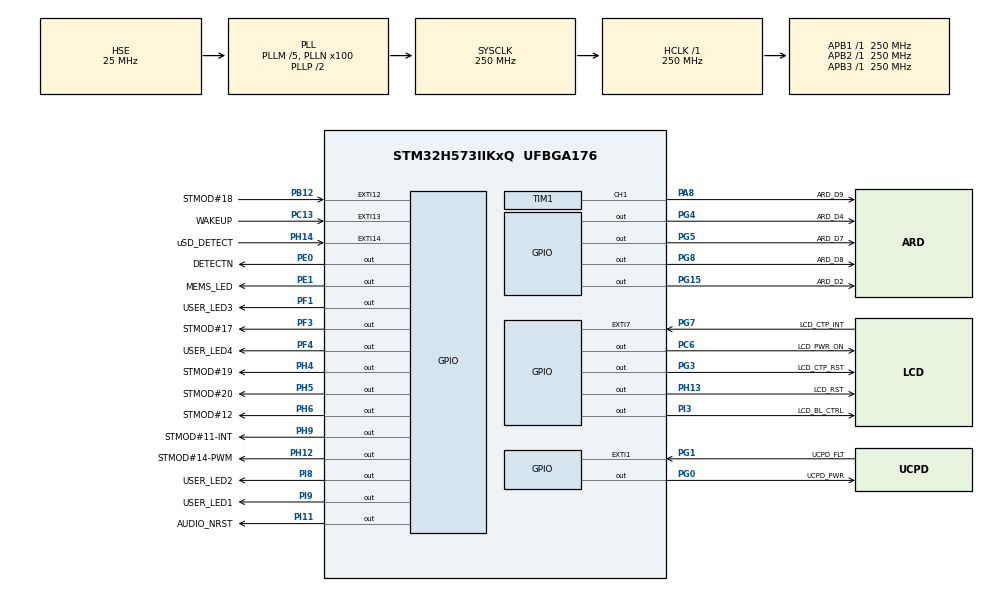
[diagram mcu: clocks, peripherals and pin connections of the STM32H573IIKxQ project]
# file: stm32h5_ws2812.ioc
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CORTEX_M33_NS.userName=CORTEX_M33
GPDMA1.CIRCULARMODE_GPDMACH0=ENABLE
GPDMA1.DESTDATAWIDTH_GPDMACH0=DMA_DEST_DATAWIDTH_WORD
GPDMA1.DIRECTION_GPDMACH0=DMA_MEMORY_TO_PERIPH
GPDMA1.IPHANDLE_GPDMACH0-SIMPLEREQUEST_GPDMACH0=__NULL
GPDMA1.REQUEST_GPDMACH0=GPDMA1_REQUEST_TIM1_CH1
GPDMA1.SRCDATAWIDTH_GPDMACH0=DMA_SRC_DATAWIDTH_WORD
GPDMA1.SRCINC_GPDMACH0=DMA_SINC_INCREMENTED
Mcu.Family=STM32H5
Mcu.Name=STM32H573IIKxQ
Mcu.Package=UFBGA176
Mcu.UserConstants=LED_TIM_ARR,311
NVIC.GPDMA1_Channel0_IRQn=true\:0\:0\:false\:false\:true\:false\:true\:true
NVIC.PriorityGroup=NVIC_PRIORITYGROUP_4
PA0.GPIO_Label=ARD_A2
PA0.Signal=ADCx_INP0
PA1.GPIO_Label=RMII_REF_CLK
PA1.Signal=ETH_REF_CLK
PA10.GPIO_Label=STLK_VCP_TX
PA10.Signal=USART1_RX
PA11.GPIO_Label=USB_FS_N
PA11.Signal=USB_DM
PA12.GPIO_Label=USB_FS_P
PA12.Signal=USB_DP
PA13(JTMS/SWDIO).GPIO_Label=JTMS
PA13(JTMS/SWDIO).Signal=DEBUG_JTMS-SWDIO
PA14(JTCK/SWCLK).GPIO_Label=JTCK
PA14(JTCK/SWCLK).Signal=DEBUG_JTCK-SWCLK
PA15(JTDI).GPIO_Label=JTDI
PA15(JTDI).Signal=DEBUG_JTDI
PA2.GPIO_Label=RMII_MDIO
PA2.Signal=ETH_MDIO
PA3.GPIO_Label=ARD_D10
PA3.Signal=SPI2_NSS
PA4.GPIO_Label=ARD_A1
PA4.Signal=ADCx_INP18
PA5.GPIO_Label=ARD_A3
PA5.Signal=ADCx_INP19
PA6.GPIO_Label=ARD_A4
PA6.Signal=ADCx_INP3
PA7.GPIO_Label=RMII_CRS_DV
PA7.Signal=ETH_CRS_DV
PA8.GPIO_Label=ARD_D9
PA8.Signal=S_TIM1_CH1
PA9.GPIO_Label=STLK_VCP_RX
PA9.Signal=USART1_TX
PB0.GPIO_Label=ARD_A0
PB0.Signal=ADCx_INP9
PB1.GPIO_Mode=GPIO_MODE_AF_PP
PB1.GPIO_PuPd=GPIO_NOPULL
PB1.GPIO_Speed_High_Default=GPIO_SPEED_FREQ_VERY_HIGH
PB1.Signal=OCTOSPI1_IO0
PB10.GPIO_Label=ARD_D1
PB10.Signal=USART3_TX
PB11.GPIO_Label=ARD_D0
PB11.Signal=USART3_RX
PB12.GPIO_Label=STMOD\#18
PB12.Signal=GPXTI12
PB13.GPIO_Label=UCPD_CC1
PB13.Signal=UCPD1_CC1
PB14.GPIO_Label=UCPD_CC2
PB14.Signal=UCPD1_CC2
PB15.GPIO_Label=ARD_D11
PB15.Signal=SPI2_MOSI
PB2.Signal=OCTOSPI1_DQS
PB3(JTDO/TRACESWO).GPIO_Label=SWO
PB3(JTDO/TRACESWO).Signal=DEBUG_JTDO-SWO
PB4(NJTRST).GPIO_Label=NJTRST
PB4(NJTRST).Signal=DEBUG_JTRST
PB5.GPIO_Label=ARD_D3
PB5.Signal=S_TIM3_CH2
PB6.GPIO_Label=I2C1_SCL
PB6.Signal=I2C1_SCL
PB7.GPIO_Label=I2C1_SDA
PB7.Signal=I2C1_SDA
PC0.Signal=OCTOSPI1_IO7
PC1.GPIO_Label=RMII_MDC
PC1.Signal=ETH_MDC
PC10.GPIO_Label=SDIO1_D2
PC10.Signal=SDMMC1_D2
PC11.GPIO_Label=SDIO1_D3
PC11.Signal=SDMMC1_D3
PC12.GPIO_Label=SDIO1_CK
PC12.Signal=SDMMC1_CK
PC13.GPIO_Label=WAKEUP
PC13.Signal=GPXTI13
PC14-OSC32_IN(OSC32_IN).Signal=RCC_OSC32_IN
PC15-OSC32_OUT(OSC32_OUT).Signal=RCC_OSC32_OUT
PC2.GPIO_Mode=GPIO_MODE_AF_PP
PC2.GPIO_PuPd=GPIO_NOPULL
PC2.GPIO_Speed_High_Default=GPIO_SPEED_FREQ_VERY_HIGH
PC2.Signal=OCTOSPI1_IO2
PC3.GPIO_Label=PDM_SAI1_SD3
PC3.Signal=SAI1_D3
PC4.GPIO_Label=RMII_RXD0
PC4.Signal=ETH_RXD0
PC5.GPIO_Label=RMII_RXD1
PC5.Signal=ETH_RXD1
PC6.GPIO_Label=LCD_PWR_ON
PC6.Signal=GPIO_Output
PC7.Signal=FMC_NE1
PC8.GPIO_Label=SDIO1_D0
PC8.Signal=SDMMC1_D0
PC9.GPIO_Label=SDIO1_D1
PC9.Signal=SDMMC1_D1
PD0.GPIO_Label=LCD_D2
PD0.Signal=FMC_D2_DA2
PD1.GPIO_Label=LCD_D3
PD1.Signal=FMC_D3_DA3
PD10.GPIO_Label=LCD_D15
PD10.Signal=FMC_D15_DA15
PD11.Signal=SAI1_CK1
PD12.GPIO_Mode=GPIO_MODE_AF_PP
PD12.GPIO_PuPd=GPIO_NOPULL
PD12.GPIO_Speed_High_Default=GPIO_SPEED_FREQ_VERY_HIGH
PD12.Signal=OCTOSPI1_IO1
PD13.GPIO_Mode=GPIO_MODE_AF_PP
PD13.GPIO_PuPd=GPIO_NOPULL
PD13.GPIO_Speed_High_Default=GPIO_SPEED_FREQ_VERY_HIGH
PD13.Signal=OCTOSPI1_IO3
PD14.GPIO_Label=LCD_D0
PD14.Signal=FMC_D0_DA0
PD15.GPIO_Label=LCD_D1
PD15.Signal=FMC_D1_DA1
PD2.GPIO_Label=SDIO1_CMD
PD2.Signal=SDMMC1_CMD
PD3.GPIO_Label=LCD_TE
PD3.Signal=FMC_CLK
PD4.GPIO_Label=LCD_NOE
PD4.Signal=FMC_NOE
PD5.GPIO_Label=LCD_NWE
PD5.Signal=FMC_NWE
PD6.Signal=SAI1_SD_A
PD8.GPIO_Label=LCD_D13
PD8.Signal=FMC_D13_DA13
PD9.GPIO_Label=LCD_D14
PD9.Signal=FMC_D14_DA14
PE0.GPIO_Label=DETECTN
PE0.Signal=GPIO_Output
PE1.GPIO_Label=MEMS_LED
PE1.Signal=GPIO_Output
PE10.GPIO_Label=LCD_D7
PE10.Signal=FMC_D7_DA7
PE11.GPIO_Label=LCD_D8
PE11.Signal=FMC_D8_DA8
PE12.GPIO_Label=LCD_D9
PE12.Signal=FMC_D9_DA9
PE13.GPIO_Label=LCD_D10
PE13.Signal=FMC_D10_DA10
PE14.GPIO_Label=LCD_D11
PE14.Signal=FMC_D11_DA11
PE15.GPIO_Label=LCD_D12
PE15.Signal=FMC_D12_DA12
PE2.Signal=DEBUG_TRACECLK
PE3.GPIO_Label=TRACED0
PE3.Signal=DEBUG_TRACED0
PE4.Signal=SAI1_D2
PE5.GPIO_Label=TRACED2
PE5.Signal=DEBUG_TRACED2
PE6.GPIO_Label=TRACED3
PE6.Signal=DEBUG_TRACED3
PE7.Signal=FMC_D4_DA4
PE8.GPIO_Label=LCD_D5
PE8.Signal=FMC_D5_DA5
PE9.GPIO_Label=LCD_D6
PE9.Signal=FMC_D6_DA6
PF0.GPIO_Label=LCD_A0_RS
PF0.Signal=FMC_A0
PF1.GPIO_Label=USER_LED3
PF1.Signal=GPIO_Output
PF10.GPIO_Mode=GPIO_MODE_AF_PP
PF10.GPIO_PuPd=GPIO_NOPULL
PF10.GPIO_Speed_High_Default=GPIO_SPEED_FREQ_VERY_HIGH
PF10.Signal=OCTOSPI1_CLK
PF11.GPIO_Label=STMOD\#13
PF11.Signal=ADC1_INP2
PF12.GPIO_Label=ARD_A5
PF12.Signal=ADC1_INP6
PF13.GPIO_Label=IBUS_SENSE
PF13.Signal=ADC2_INP2
PF14.GPIO_Label=VBUS_SENSE
PF14.Signal=ADC2_INP6
PF3.GPIO_Label=STMOD\#17
PF3.Signal=GPIO_Output
PF4.GPIO_Label=USER_LED4
PF4.Signal=GPIO_Output
PG0.GPIO_Label=UCPD_PWR
PG0.Signal=GPIO_Output
PG1.GPIO_Label=UCPD_FLT
PG1.Signal=GPXTI1
PG10.GPIO_Label=SAI2_SD_B
PG10.Signal=SAI2_SD_B
PG11.GPIO_Label=RMII_TX_EN
PG11.Signal=ETH_TX_EN
PG12.GPIO_Label=RMII_TXD1
PG12.Signal=ETH_TXD1
PG13.GPIO_Label=RMII_TXD0
PG13.Signal=ETH_TXD0
PG14.GPIO_Label=TRACED1
PG14.Signal=DEBUG_TRACED1
PG15.GPIO_Label=ARD_D2
PG15.Signal=GPIO_Output
PG3.GPIO_Label=LCD_CTP_RST
PG3.Signal=GPIO_Output
PG4.GPIO_Label=ARD_D4
PG4.Signal=GPIO_Output
PG5.GPIO_Label=ARD_D7
PG5.Signal=GPIO_Output
PG6.GPIO_Mode=GPIO_MODE_AF_PP
PG6.GPIO_PuPd=GPIO_NOPULL
PG6.GPIO_Speed_High_Default=GPIO_SPEED_FREQ_VERY_HIGH
PG6.Signal=OCTOSPI1_NCS
PG7.GPIO_Label=LCD_CTP_INT
PG7.Signal=GPXTI7
PG8.GPIO_Label=ARD_D8
PG8.Signal=GPIO_Output
PG9.GPIO_Mode=GPIO_MODE_AF_PP
PG9.GPIO_PuPd=GPIO_NOPULL
PG9.GPIO_Speed_High_Default=GPIO_SPEED_FREQ_VERY_HIGH
PG9.Signal=OCTOSPI1_IO6
PH0-OSC_IN(PH0).Mode=HSE-DIG-External-Clock-Source
PH0-OSC_IN(PH0).Signal=RCC_OSC_IN
PH10.GPIO_Label=ARD_D6
PH10.Signal=S_TIM5_CH1
PH11.GPIO_Label=ARD_D5
PH11.Signal=S_TIM5_CH2
PH12.GPIO_Label=STMOD\#14-PWM
PH12.Signal=GPIO_Output
PH13.GPIO_Label=LCD_RST
PH13.Signal=GPIO_Output
PH14.GPIO_Label=uSD_DETECT
PH14.Signal=GPXTI14
PH2.GPIO_Mode=GPIO_MODE_AF_PP
PH2.GPIO_PuPd=GPIO_NOPULL
PH2.GPIO_Speed_High_Default=GPIO_SPEED_FREQ_VERY_HIGH
PH2.Signal=OCTOSPI1_IO4
PH3.GPIO_Mode=GPIO_MODE_AF_PP
PH3.GPIO_PuPd=GPIO_NOPULL
PH3.GPIO_Speed_High_Default=GPIO_SPEED_FREQ_VERY_HIGH
PH3.Signal=OCTOSPI1_IO5
PH4.GPIO_Label=STMOD\#19
PH4.Signal=GPIO_Output
PH5.GPIO_Label=STMOD\#20
PH5.Signal=GPIO_Output
PH6.GPIO_Label=STMOD\#12
PH6.Signal=GPIO_Output
PH7.GPIO_Label=STMOD\#12-RST
PH7.Signal=SPI5_MISO
PH8.GPIO_Label=STMOD\#9-MISOs
PH8.Signal=SPI5_MOSI
PH9.GPIO_Label=STMOD\#11-INT
PH9.Signal=GPIO_Output
PI1.GPIO_Label=ARD_D13
PI1.Signal=SPI2_SCK
PI10.GPIO_Label=RMII_RX_ER
PI10.Signal=ETH_RX_ER
PI11.GPIO_Label=AUDIO_NRST
PI11.Signal=GPIO_Output
PI2.GPIO_Label=ARD_D12
PI2.Signal=SPI2_MISO
PI3.GPIO_Label=LCD_BL_CTRL
PI3.Signal=GPIO_Output
PI4.GPIO_Label=SAI2_MCLK_A
PI4.Signal=SAI2_MCLK_A
PI5.GPIO_Label=SAI2_SCK_A
PI5.Signal=SAI2_SCK_A
PI6.GPIO_Label=SAI2_SD_A
PI6.Signal=SAI2_SD_A
PI7.GPIO_Label=SAI2_FS_A
PI7.Signal=SAI2_FS_A
PI8.GPIO_Label=USER_LED2
PI8.Signal=GPIO_Output
PI9.GPIO_Label=USER_LED1
PI9.Signal=GPIO_Output
ProjectManager.HeapSize=0x200
ProjectManager.StackSize=0x400
ProjectManager.TargetToolchain=STM32CubeIDE
RCC.ADCFreq_Value=250000000
RCC.AHBFreq_Value=250000000
RCC.APB1Freq_Value=250000000
RCC.APB1TimFreq_Value=250000000
RCC.APB2Freq_Value=250000000
RCC.APB2TimFreq_Value=250000000
RCC.APB3Freq_Value=250000000
RCC.CSI_VALUE=4000000
RCC.CortexFreq_Value=250000000
RCC.EPOD_VALUE=25000000
RCC.HCLKFreq_Value=250000000
RCC.HSE_VALUE=25000000
RCC.HSI48_VALUE=48000000
RCC.HSIDiv=RCC_HSI_DIV1
RCC.HSI_VALUE=64000000
RCC.LSE_VALUE=32768
RCC.LSIRC_VALUE=32000
RCC.PLL2FRACN=0
RCC.PLL2N=32
RCC.PLL2P=1
RCC.PLLM=5
RCC.PLLN=100
RCC.PLLSourceVirtual=RCC_PLL1_SOURCE_HSE
RCC.SYSCLKFreq_VALUE=250000000
RCC.SYSCLKSource=RCC_SYSCLKSOURCE_PLLCLK
RCC.USBFreq_Value=48000000
RCC.VCOOutputFreq_Value=500000000
SH.ADCx_INP0.0=ADC1_INP0
SH.ADCx_INP18.0=ADC1_INP18
SH.ADCx_INP19.0=ADC1_INP19
SH.ADCx_INP3.0=ADC1_INP3
SH.ADCx_INP9.0=ADC1_INP9
SH.FMC_A0.0=FMC_A0
SH.FMC_CLK.0=FMC_CLK
SH.FMC_D0_DA0.0=FMC_D0
SH.FMC_D10_DA10.0=FMC_D10
SH.FMC_D11_DA11.0=FMC_D11
SH.FMC_D12_DA12.0=FMC_D12
SH.FMC_D13_DA13.0=FMC_D13
SH.FMC_D14_DA14.0=FMC_D14
SH.FMC_D15_DA15.0=FMC_D15
SH.FMC_D1_DA1.0=FMC_D1
SH.FMC_D2_DA2.0=FMC_D2
SH.FMC_D3_DA3.0=FMC_D3
SH.FMC_D4_DA4.0=FMC_D4
SH.FMC_D5_DA5.0=FMC_D5
SH.FMC_D6_DA6.0=FMC_D6
SH.FMC_D7_DA7.0=FMC_D7
SH.FMC_D8_DA8.0=FMC_D8
SH.FMC_D9_DA9.0=FMC_D9
SH.FMC_NOE.0=FMC_NOE
SH.FMC_NWE.0=FMC_NWE
SH.S_TIM1_CH1.0=TIM1_CH1,PWM Generation1 CH1
SH.S_TIM3_CH2.0=TIM3_CH2
SH.S_TIM5_CH1.0=TIM5_CH1
SH.S_TIM5_CH2.0=TIM5_CH2
TIM1.Channel-PWM\ Generation1\ CH1=TIM_CHANNEL_1
TIM1.PeriodNoDither=LED_TIM_ARR
VP_BOOTPATH_VS_BOOTPATH.Mode=BP_Activate
VP_GPDMA1_VS_GPDMACH0.Mode=SIMPLEREQUEST_GPDMACH0
VP_MEMORYMAP_VS_MEMORYMAP.Mode=CurAppReg
VP_PWR_VS_DBSignals.Mode=DisableDeadBatterySignals
VP_PWR_VS_LPOM.Mode=PowerOptimisation
VP_PWR_VS_SECSignals.Mode=Security/Privilege
VP_TIM1_VS_ClockSourceINT.Mode=Internal
board=STM32H573I-DK

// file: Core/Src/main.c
/* USER CODE BEGIN Header */
/**
  ******************************************************************************
  * @file           : main.c
  * @brief          : Main program body
  ******************************************************************************
  * @attention
  *
  * Copyright (c) 2024 STMicroelectronics.
  * All rights reserved.
  *
  * This software is licensed under terms that can be found in the LICENSE file
  * in the root directory of this software component.
  * If no LICENSE file comes with this software, it is provided AS-IS.
  *
  ******************************************************************************
  */
/* USER CODE END Header */
#include "main.h"

/* USER CODE BEGIN Includes */
#include <stdint.h>
#include <stdbool.h>
#include <memory.h>

/* USER CODE END Includes */

/* USER CODE BEGIN PTD */
typedef enum {
	LedTransfer,
	Reset
} State;

typedef enum Event {
	DMA_HalfComplete,
	DMA_TransferComplete
} DmaEvent;

/* USER CODE END PTD */

/* USER CODE BEGIN PD */
#define LED_PULSE_HI ((LED_TIM_ARR / 3) * 2)
#define LED_PULSE_LO ((LED_TIM_ARR / 3) * 1)

#define NUM_LEDS 5
#define NUM_LEDS_PER_TRANSFER 2

#define BYTES_PER_LED 3
#define BITS_PER_LED (BYTES_PER_LED * 8)

#define NUM_TRANSFER_ELEMENTS (BITS_PER_LED * NUM_LEDS_PER_TRANSFER)
#define NUM_PULSES_FOR_RESET 40

#define LED_BUFFER_SIZE (BYTES_PER_LED * NUM_LEDS)
#define PWM_BUFFER_SIZE (NUM_TRANSFER_ELEMENTS)

#define NUM_TRANSFER_BYTES (PWM_BUFFER_SIZE * sizeof(uint32_t))

/* USER CODE END PD */

TIM_HandleTypeDef htim1;
DMA_NodeTypeDef Node_GPDMA1_Channel0;
DMA_QListTypeDef List_GPDMA1_Channel0;
DMA_HandleTypeDef handle_GPDMA1_Channel0;

/* USER CODE BEGIN PV */
static uint8_t led_buffer[LED_BUFFER_SIZE] = {0};
static uint32_t pwm_buffer[PWM_BUFFER_SIZE] = {0};

static volatile State state = LedTransfer;

static volatile size_t current_led = 0;
static volatile size_t reset_pulse_count = 0;
static volatile bool transfer_in_progress = false;

/* USER CODE END PV */

void SystemClock_Config(void);
static void MX_GPIO_Init(void);
static void MX_GPDMA1_Init(void);
static void MX_MEMORYMAP_Init(void);
static void MX_TIM1_Init(void);

/* USER CODE BEGIN 0 */
void setColor(const size_t idx, uint8_t r, uint8_t g, uint8_t b)
{
	led_buffer[(BYTES_PER_LED * idx) + 0] = r;
	led_buffer[(BYTES_PER_LED * idx) + 1] = g;
	led_buffer[(BYTES_PER_LED * idx) + 2] = b;
}

uint32_t getColor(const size_t idx)
{
	const uint32_t r = (uint32_t)led_buffer[(BYTES_PER_LED * idx) + 0];
	const uint32_t g = (uint32_t)led_buffer[(BYTES_PER_LED * idx) + 1];
	const uint32_t b = (uint32_t)led_buffer[(BYTES_PER_LED * idx) + 2];

	return (g << 16) | (r << 8) | b;
}

void updatePwmDataForLedAtOffset(const size_t led, const size_t offset)
{
	const uint32_t color = getColor(led);

	int idx = 0;
	for (int bit = 23; bit >= 0; --bit)
	{
		if (color & (1 << bit))
		{
			pwm_buffer[offset + idx] = LED_PULSE_HI;
		}
		else
		{
			pwm_buffer[offset + idx] = LED_PULSE_LO;
		}

		idx++;
	}
}

void updatePwmDataForReset(const size_t offset)
{
	for (int i = 0; i < BITS_PER_LED; ++i)
	{
		pwm_buffer[offset + i] = 0;
	}
}

void handleTransferEvent(const DmaEvent dma_event)
{
	const size_t offset = (dma_event == DMA_HalfComplete) ? 0 : BITS_PER_LED;

	if (current_led < NUM_LEDS)
	{
		updatePwmDataForLedAtOffset(current_led++, offset);
	}
	else
	{
		// Reset period
		updatePwmDataForReset(offset);
		current_led++;
	}

	if (current_led >= (NUM_LEDS + NUM_PULSES_FOR_RESET))
	{
		current_led = 0;
	}
}

void HAL_TIM_PWM_PulseFinishedCallback(TIM_HandleTypeDef *htim)
{
	handleTransferEvent(DMA_TransferComplete);
}

void HAL_TIM_PWM_PulseFinishedHalfCpltCallback(TIM_HandleTypeDef *htim)
{
	handleTransferEvent(DMA_HalfComplete);
}

/* USER CODE END 0 */

int main(void)
{

  /* MCU Configuration--------------------------------------------------------*/

  /* Reset of all peripherals, Initializes the Flash interface and the Systick. */
  HAL_Init();

  /* Configure the system clock */
  SystemClock_Config();

  /* Initialize all configured peripherals */
  MX_GPIO_Init();
  MX_GPDMA1_Init();
  MX_MEMORYMAP_Init();
  MX_TIM1_Init();
  /* USER CODE BEGIN 2 */
  setColor(0, 0xFF, 0x00, 0x00);
  setColor(1, 0x00, 0xFF, 0x00);
  setColor(2, 0x00, 0x00, 0xFF);
  setColor(3, 0xFF, 0xFF, 0x00);
  setColor(4, 0xFF, 0x00, 0xFF);

  HAL_TIM_PWM_Start_DMA(&htim1, TIM_CHANNEL_1, pwm_buffer, NUM_TRANSFER_BYTES);

  /* USER CODE END 2 */

  /* Infinite loop */
  while (1)
  {
	  HAL_Delay(500);

  }
}

void SystemClock_Config(void)
{
  RCC_OscInitTypeDef RCC_OscInitStruct = {0};
  RCC_ClkInitTypeDef RCC_ClkInitStruct = {0};

  /** Configure the main internal regulator output voltage
  */
  __HAL_PWR_VOLTAGESCALING_CONFIG(PWR_REGULATOR_VOLTAGE_SCALE0);

  while(!__HAL_PWR_GET_FLAG(PWR_FLAG_VOSRDY)) {}

  /** Initializes the RCC Oscillators according to the specified parameters
  * in the RCC_OscInitTypeDef structure.
  */
  RCC_OscInitStruct.OscillatorType = RCC_OSCILLATORTYPE_HSE;
  RCC_OscInitStruct.HSEState = RCC_HSE_BYPASS_DIGITAL;
  RCC_OscInitStruct.PLL.PLLState = RCC_PLL_ON;
  RCC_OscInitStruct.PLL.PLLSource = RCC_PLL1_SOURCE_HSE;
  RCC_OscInitStruct.PLL.PLLM = 5;
  RCC_OscInitStruct.PLL.PLLN = 100;
  RCC_OscInitStruct.PLL.PLLP = 2;
  RCC_OscInitStruct.PLL.PLLQ = 2;
  RCC_OscInitStruct.PLL.PLLR = 2;
  RCC_OscInitStruct.PLL.PLLRGE = RCC_PLL1_VCIRANGE_2;
  RCC_OscInitStruct.PLL.PLLVCOSEL = RCC_PLL1_VCORANGE_WIDE;
  RCC_OscInitStruct.PLL.PLLFRACN = 0;
  if (HAL_RCC_OscConfig(&RCC_OscInitStruct) != HAL_OK)
  {
    Error_Handler();
  }

  /** Initializes the CPU, AHB and APB buses clocks
  */
  RCC_ClkInitStruct.ClockType = RCC_CLOCKTYPE_HCLK|RCC_CLOCKTYPE_SYSCLK
                              |RCC_CLOCKTYPE_PCLK1|RCC_CLOCKTYPE_PCLK2
                              |RCC_CLOCKTYPE_PCLK3;
  RCC_ClkInitStruct.SYSCLKSource = RCC_SYSCLKSOURCE_PLLCLK;
  RCC_ClkInitStruct.AHBCLKDivider = RCC_SYSCLK_DIV1;
  RCC_ClkInitStruct.APB1CLKDivider = RCC_HCLK_DIV1;
  RCC_ClkInitStruct.APB2CLKDivider = RCC_HCLK_DIV1;
  RCC_ClkInitStruct.APB3CLKDivider = RCC_HCLK_DIV1;

  if (HAL_RCC_ClockConfig(&RCC_ClkInitStruct, FLASH_LATENCY_5) != HAL_OK)
  {
    Error_Handler();
  }
}

static void MX_GPDMA1_Init(void)
{

  /* Peripheral clock enable */
  __HAL_RCC_GPDMA1_CLK_ENABLE();

  /* GPDMA1 interrupt Init */
    HAL_NVIC_SetPriority(GPDMA1_Channel0_IRQn, 0, 0);
    HAL_NVIC_EnableIRQ(GPDMA1_Channel0_IRQn);

}

static void MX_MEMORYMAP_Init(void)
{

}

static void MX_TIM1_Init(void)
{

  TIM_ClockConfigTypeDef sClockSourceConfig = {0};
  TIM_MasterConfigTypeDef sMasterConfig = {0};
  TIM_OC_InitTypeDef sConfigOC = {0};
  TIM_BreakDeadTimeConfigTypeDef sBreakDeadTimeConfig = {0};

  htim1.Instance = TIM1;
  htim1.Init.Prescaler = 0;
  htim1.Init.CounterMode = TIM_COUNTERMODE_UP;
  htim1.Init.Period = 311;
  htim1.Init.ClockDivision = TIM_CLOCKDIVISION_DIV1;
  htim1.Init.RepetitionCounter = 0;
  htim1.Init.AutoReloadPreload = TIM_AUTORELOAD_PRELOAD_DISABLE;
  if (HAL_TIM_Base_Init(&htim1) != HAL_OK)
  {
    Error_Handler();
  }
  sClockSourceConfig.ClockSource = TIM_CLOCKSOURCE_INTERNAL;
  if (HAL_TIM_ConfigClockSource(&htim1, &sClockSourceConfig) != HAL_OK)
  {
    Error_Handler();
  }
  if (HAL_TIM_PWM_Init(&htim1) != HAL_OK)
  {
    Error_Handler();
  }
  sMasterConfig.MasterOutputTrigger = TIM_TRGO_RESET;
  sMasterConfig.MasterOutputTrigger2 = TIM_TRGO2_RESET;
  sMasterConfig.MasterSlaveMode = TIM_MASTERSLAVEMODE_DISABLE;
  if (HAL_TIMEx_MasterConfigSynchronization(&htim1, &sMasterConfig) != HAL_OK)
  {
    Error_Handler();
  }
  sConfigOC.OCMode = TIM_OCMODE_PWM1;
  sConfigOC.Pulse = 0;
  sConfigOC.OCPolarity = TIM_OCPOLARITY_HIGH;
  sConfigOC.OCNPolarity = TIM_OCNPOLARITY_HIGH;
  sConfigOC.OCFastMode = TIM_OCFAST_DISABLE;
  sConfigOC.OCIdleState = TIM_OCIDLESTATE_RESET;
  sConfigOC.OCNIdleState = TIM_OCNIDLESTATE_RESET;
  if (HAL_TIM_PWM_ConfigChannel(&htim1, &sConfigOC, TIM_CHANNEL_1) != HAL_OK)
  {
    Error_Handler();
  }
  sBreakDeadTimeConfig.OffStateRunMode = TIM_OSSR_DISABLE;
  sBreakDeadTimeConfig.OffStateIDLEMode = TIM_OSSI_DISABLE;
  sBreakDeadTimeConfig.LockLevel = TIM_LOCKLEVEL_OFF;
  sBreakDeadTimeConfig.DeadTime = 0;
  sBreakDeadTimeConfig.BreakState = TIM_BREAK_DISABLE;
  sBreakDeadTimeConfig.BreakPolarity = TIM_BREAKPOLARITY_HIGH;
  sBreakDeadTimeConfig.BreakFilter = 0;
  sBreakDeadTimeConfig.BreakAFMode = TIM_BREAK_AFMODE_INPUT;
  sBreakDeadTimeConfig.Break2State = TIM_BREAK2_DISABLE;
  sBreakDeadTimeConfig.Break2Polarity = TIM_BREAK2POLARITY_HIGH;
  sBreakDeadTimeConfig.Break2Filter = 0;
  sBreakDeadTimeConfig.Break2AFMode = TIM_BREAK_AFMODE_INPUT;
  sBreakDeadTimeConfig.AutomaticOutput = TIM_AUTOMATICOUTPUT_DISABLE;
  if (HAL_TIMEx_ConfigBreakDeadTime(&htim1, &sBreakDeadTimeConfig) != HAL_OK)
  {
    Error_Handler();
  }
  HAL_TIM_MspPostInit(&htim1);

}

static void MX_GPIO_Init(void)
{
  GPIO_InitTypeDef GPIO_InitStruct = {0};

  /* GPIO Ports Clock Enable */
  __HAL_RCC_GPIOI_CLK_ENABLE();
  __HAL_RCC_GPIOB_CLK_ENABLE();
  __HAL_RCC_GPIOG_CLK_ENABLE();
  __HAL_RCC_GPIOD_CLK_ENABLE();
  __HAL_RCC_GPIOE_CLK_ENABLE();
  __HAL_RCC_GPIOA_CLK_ENABLE();
  __HAL_RCC_GPIOH_CLK_ENABLE();
  __HAL_RCC_GPIOC_CLK_ENABLE();
  __HAL_RCC_GPIOF_CLK_ENABLE();

  /*Configure GPIO pin Output Level */
  HAL_GPIO_WritePin(GPIOG, ARD_D2_Pin|ARD_D8_Pin|LCD_CTP_RST_Pin|ARD_D7_Pin
                          |ARD_D4_Pin|UCPD_PWR_Pin, GPIO_PIN_RESET);

  /*Configure GPIO pin Output Level */
  HAL_GPIO_WritePin(GPIOI, LCD_BL_CTRL_Pin|USER_LED1_Pin|USER_LED2_Pin|AUDIO_NRST_Pin, GPIO_PIN_RESET);

  /*Configure GPIO pin Output Level */
  HAL_GPIO_WritePin(GPIOE, MEMS_LED_Pin|DETECTN_Pin, GPIO_PIN_RESET);

  /*Configure GPIO pin Output Level */
  HAL_GPIO_WritePin(GPIOH, LCD_RST_Pin|STMOD_11_INT_Pin|STMOD_14_PWM_Pin|STMOD_20_Pin
                          |STMOD_12_Pin|STMOD_19_Pin, GPIO_PIN_RESET);

  /*Configure GPIO pin Output Level */
  HAL_GPIO_WritePin(GPIOF, USER_LED3_Pin|USER_LED4_Pin|STMOD_17_Pin, GPIO_PIN_RESET);

  /*Configure GPIO pin Output Level */
  HAL_GPIO_WritePin(LCD_PWR_ON_GPIO_Port, LCD_PWR_ON_Pin, GPIO_PIN_RESET);

  /*Configure GPIO pins : SAI2_FS_A_Pin SAI2_SCK_A_Pin SAI2_MCLK_A_Pin SAI2_SD_A_Pin */
  GPIO_InitStruct.Pin = SAI2_FS_A_Pin|SAI2_SCK_A_Pin|SAI2_MCLK_A_Pin|SAI2_SD_A_Pin;
  GPIO_InitStruct.Mode = GPIO_MODE_AF_PP;
  GPIO_InitStruct.Pull = GPIO_NOPULL;
  GPIO_InitStruct.Speed = GPIO_SPEED_FREQ_LOW;
  GPIO_InitStruct.Alternate = GPIO_AF10_SAI2;
  HAL_GPIO_Init(GPIOI, &GPIO_InitStruct);

  /*Configure GPIO pin : ARD_D3_Pin */
  GPIO_InitStruct.Pin = ARD_D3_Pin;
  GPIO_InitStruct.Mode = GPIO_MODE_AF_PP;
  GPIO_InitStruct.Pull = GPIO_NOPULL;
  GPIO_InitStruct.Speed = GPIO_SPEED_FREQ_LOW;
  GPIO_InitStruct.Alternate = GPIO_AF2_TIM3;
  HAL_GPIO_Init(ARD_D3_GPIO_Port, &GPIO_InitStruct);

  /*Configure GPIO pins : ARD_D2_Pin ARD_D8_Pin LCD_CTP_RST_Pin ARD_D7_Pin
                           ARD_D4_Pin UCPD_PWR_Pin */
  GPIO_InitStruct.Pin = ARD_D2_Pin|ARD_D8_Pin|LCD_CTP_RST_Pin|ARD_D7_Pin
                          |ARD_D4_Pin|UCPD_PWR_Pin;
  GPIO_InitStruct.Mode = GPIO_MODE_OUTPUT_PP;
  GPIO_InitStruct.Pull = GPIO_NOPULL;
  GPIO_InitStruct.Speed = GPIO_SPEED_FREQ_LOW;
  HAL_GPIO_Init(GPIOG, &GPIO_InitStruct);

  /*Configure GPIO pin : SAI2_SD_B_Pin */
  GPIO_InitStruct.Pin = SAI2_SD_B_Pin;
  GPIO_InitStruct.Mode = GPIO_MODE_AF_PP;
  GPIO_InitStruct.Pull = GPIO_NOPULL;
  GPIO_InitStruct.Speed = GPIO_SPEED_FREQ_LOW;
  GPIO_InitStruct.Alternate = GPIO_AF10_SAI2;
  HAL_GPIO_Init(SAI2_SD_B_GPIO_Port, &GPIO_InitStruct);

  /*Configure GPIO pins : LCD_NWE_Pin LCD_TE_Pin LCD_D3_Pin LCD_NOE_Pin
                           LCD_D2_Pin LCD_D1_Pin LCD_D15_Pin LCD_D0_Pin
                           LCD_D14_Pin LCD_D13_Pin */
  GPIO_InitStruct.Pin = LCD_NWE_Pin|LCD_TE_Pin|LCD_D3_Pin|LCD_NOE_Pin
                          |LCD_D2_Pin|LCD_D1_Pin|LCD_D15_Pin|LCD_D0_Pin
                          |LCD_D14_Pin|LCD_D13_Pin;
  GPIO_InitStruct.Mode = GPIO_MODE_AF_PP;
  GPIO_InitStruct.Pull = GPIO_NOPULL;
  GPIO_InitStruct.Speed = GPIO_SPEED_FREQ_VERY_HIGH;
  GPIO_InitStruct.Alternate = GPIO_AF12_FMC;
  HAL_GPIO_Init(GPIOD, &GPIO_InitStruct);

  /*Configure GPIO pins : LCD_BL_CTRL_Pin USER_LED1_Pin USER_LED2_Pin AUDIO_NRST_Pin */
  GPIO_InitStruct.Pin = LCD_BL_CTRL_Pin|USER_LED1_Pin|USER_LED2_Pin|AUDIO_NRST_Pin;
  GPIO_InitStruct.Mode = GPIO_MODE_OUTPUT_PP;
  GPIO_InitStruct.Pull = GPIO_NOPULL;
  GPIO_InitStruct.Speed = GPIO_SPEED_FREQ_LOW;
  HAL_GPIO_Init(GPIOI, &GPIO_InitStruct);

  /*Configure GPIO pins : ARD_D13_Pin ARD_D12_Pin */
  GPIO_InitStruct.Pin = ARD_D13_Pin|ARD_D12_Pin;
  GPIO_InitStruct.Mode = GPIO_MODE_AF_PP;
  GPIO_InitStruct.Pull = GPIO_NOPULL;
  GPIO_InitStruct.Speed = GPIO_SPEED_FREQ_LOW;
  GPIO_InitStruct.Alternate = GPIO_AF5_SPI2;
  HAL_GPIO_Init(GPIOI, &GPIO_InitStruct);

  /*Configure GPIO pins : MEMS_LED_Pin DETECTN_Pin */
  GPIO_InitStruct.Pin = MEMS_LED_Pin|DETECTN_Pin;
  GPIO_InitStruct.Mode = GPIO_MODE_OUTPUT_PP;
  GPIO_InitStruct.Pull = GPIO_NOPULL;
  GPIO_InitStruct.Speed = GPIO_SPEED_FREQ_LOW;
  HAL_GPIO_Init(GPIOE, &GPIO_InitStruct);

  /*Configure GPIO pins : I2C1_SCL_Pin I2C1_SDA_Pin */
  GPIO_InitStruct.Pin = I2C1_SCL_Pin|I2C1_SDA_Pin;
  GPIO_InitStruct.Mode = GPIO_MODE_AF_OD;
  GPIO_InitStruct.Pull = GPIO_NOPULL;
  GPIO_InitStruct.Speed = GPIO_SPEED_FREQ_LOW;
  GPIO_InitStruct.Alternate = GPIO_AF4_I2C1;
  HAL_GPIO_Init(GPIOB, &GPIO_InitStruct);

  /*Configure GPIO pins : RMII_TXD1_Pin RMII_TXD0_Pin RMII_TX_EN_Pin */
  GPIO_InitStruct.Pin = RMII_TXD1_Pin|RMII_TXD0_Pin|RMII_TX_EN_Pin;
  GPIO_InitStruct.Mode = GPIO_MODE_AF_PP;
  GPIO_InitStruct.Pull = GPIO_NOPULL;
  GPIO_InitStruct.Speed = GPIO_SPEED_FREQ_HIGH;
  GPIO_InitStruct.Alternate = GPIO_AF11_ETH;
  HAL_GPIO_Init(GPIOG, &GPIO_InitStruct);

  /*Configure GPIO pin : PG9 */
  GPIO_InitStruct.Pin = GPIO_PIN_9;
  GPIO_InitStruct.Mode = GPIO_MODE_AF_PP;
  GPIO_InitStruct.Pull = GPIO_NOPULL;
  GPIO_InitStruct.Speed = GPIO_SPEED_FREQ_VERY_HIGH;
  GPIO_InitStruct.Alternate = GPIO_AF9_OCTOSPI1;
  HAL_GPIO_Init(GPIOG, &GPIO_InitStruct);

  /*Configure GPIO pin : PD6 */
  GPIO_InitStruct.Pin = GPIO_PIN_6;
  GPIO_InitStruct.Mode = GPIO_MODE_AF_PP;
  GPIO_InitStruct.Pull = GPIO_NOPULL;
  GPIO_InitStruct.Speed = GPIO_SPEED_FREQ_LOW;
  GPIO_InitStruct.Alternate = GPIO_AF6_SAI1;
  HAL_GPIO_Init(GPIOD, &GPIO_InitStruct);

  /*Configure GPIO pins : LCD_RST_Pin STMOD_11_INT_Pin STMOD_14_PWM_Pin STMOD_20_Pin
                           STMOD_12_Pin STMOD_19_Pin */
  GPIO_InitStruct.Pin = LCD_RST_Pin|STMOD_11_INT_Pin|STMOD_14_PWM_Pin|STMOD_20_Pin
                          |STMOD_12_Pin|STMOD_19_Pin;
  GPIO_InitStruct.Mode = GPIO_MODE_OUTPUT_PP;
  GPIO_InitStruct.Pull = GPIO_NOPULL;
  GPIO_InitStruct.Speed = GPIO_SPEED_FREQ_LOW;
  HAL_GPIO_Init(GPIOH, &GPIO_InitStruct);

  /*Configure GPIO pin : PE4 */
  GPIO_InitStruct.Pin = GPIO_PIN_4;
  GPIO_InitStruct.Mode = GPIO_MODE_AF_PP;
  GPIO_InitStruct.Pull = GPIO_NOPULL;
  GPIO_InitStruct.Speed = GPIO_SPEED_FREQ_LOW;
  GPIO_InitStruct.Alternate = GPIO_AF2_SAI1;
  HAL_GPIO_Init(GPIOE, &GPIO_InitStruct);

  /*Configure GPIO pin : SDIO1_CMD_Pin */
  GPIO_InitStruct.Pin = SDIO1_CMD_Pin;
  GPIO_InitStruct.Mode = GPIO_MODE_AF_PP;
  GPIO_InitStruct.Pull = GPIO_NOPULL;
  GPIO_InitStruct.Speed = GPIO_SPEED_FREQ_HIGH;
  GPIO_InitStruct.Alternate = GPIO_AF12_SDMMC1;
  HAL_GPIO_Init(SDIO1_CMD_GPIO_Port, &GPIO_InitStruct);

  /*Configure GPIO pins : SDIO1_CK_Pin SDIO1_D3_Pin SDIO1_D2_Pin SDIO1_D1_Pin
                           SDIO1_D0_Pin */
  GPIO_InitStruct.Pin = SDIO1_CK_Pin|SDIO1_D3_Pin|SDIO1_D2_Pin|SDIO1_D1_Pin
                          |SDIO1_D0_Pin;
  GPIO_InitStruct.Mode = GPIO_MODE_AF_PP;
  GPIO_InitStruct.Pull = GPIO_NOPULL;
  GPIO_InitStruct.Speed = GPIO_SPEED_FREQ_HIGH;
  GPIO_InitStruct.Alternate = GPIO_AF12_SDMMC1;
  HAL_GPIO_Init(GPIOC, &GPIO_InitStruct);

  /*Configure GPIO pins : USB_FS_P_Pin USB_FS_N_Pin */
  GPIO_InitStruct.Pin = USB_FS_P_Pin|USB_FS_N_Pin;
  GPIO_InitStruct.Mode = GPIO_MODE_AF_PP;
  GPIO_InitStruct.Pull = GPIO_NOPULL;
  GPIO_InitStruct.Speed = GPIO_SPEED_FREQ_LOW;
  GPIO_InitStruct.Alternate = GPIO_AF10_USB;
  HAL_GPIO_Init(GPIOA, &GPIO_InitStruct);

  /*Configure GPIO pin : uSD_DETECT_Pin */
  GPIO_InitStruct.Pin = uSD_DETECT_Pin;
  GPIO_InitStruct.Mode = GPIO_MODE_IT_RISING;
  GPIO_InitStruct.Pull = GPIO_NOPULL;
  HAL_GPIO_Init(uSD_DETECT_GPIO_Port, &GPIO_InitStruct);

  /*Configure GPIO pin : WAKEUP_Pin */
  GPIO_InitStruct.Pin = WAKEUP_Pin;
  GPIO_InitStruct.Mode = GPIO_MODE_IT_RISING;
  GPIO_InitStruct.Pull = GPIO_NOPULL;
  HAL_GPIO_Init(WAKEUP_GPIO_Port, &GPIO_InitStruct);

  /*Configure GPIO pins : STLK_VCP_TX_Pin STLK_VCP_RX_Pin */
  GPIO_InitStruct.Pin = STLK_VCP_TX_Pin|STLK_VCP_RX_Pin;
  GPIO_InitStruct.Mode = GPIO_MODE_AF_PP;
  GPIO_InitStruct.Pull = GPIO_NOPULL;
  GPIO_InitStruct.Speed = GPIO_SPEED_FREQ_LOW;
  GPIO_InitStruct.Alternate = GPIO_AF7_USART1;
  HAL_GPIO_Init(GPIOA, &GPIO_InitStruct);

  /*Configure GPIO pins : USER_LED3_Pin USER_LED4_Pin STMOD_17_Pin */
  GPIO_InitStruct.Pin = USER_LED3_Pin|USER_LED4_Pin|STMOD_17_Pin;
  GPIO_InitStruct.Mode = GPIO_MODE_OUTPUT_PP;
  GPIO_InitStruct.Pull = GPIO_NOPULL;
  GPIO_InitStruct.Speed = GPIO_SPEED_FREQ_LOW;
  HAL_GPIO_Init(GPIOF, &GPIO_InitStruct);

  /*Configure GPIO pin : LCD_A0_RS_Pin */
  GPIO_InitStruct.Pin = LCD_A0_RS_Pin;
  GPIO_InitStruct.Mode = GPIO_MODE_AF_PP;
  GPIO_InitStruct.Pull = GPIO_NOPULL;
  GPIO_InitStruct.Speed = GPIO_SPEED_FREQ_VERY_HIGH;
  GPIO_InitStruct.Alternate = GPIO_AF12_FMC;
  HAL_GPIO_Init(LCD_A0_RS_GPIO_Port, &GPIO_InitStruct);

  /*Configure GPIO pin : RMII_RX_ER_Pin */
  GPIO_InitStruct.Pin = RMII_RX_ER_Pin;
  GPIO_InitStruct.Mode = GPIO_MODE_AF_PP;
  GPIO_InitStruct.Pull = GPIO_NOPULL;
  GPIO_InitStruct.Speed = GPIO_SPEED_FREQ_HIGH;
  GPIO_InitStruct.Alternate = GPIO_AF11_ETH;
  HAL_GPIO_Init(RMII_RX_ER_GPIO_Port, &GPIO_InitStruct);

  /*Configure GPIO pin : PC7 */
  GPIO_InitStruct.Pin = GPIO_PIN_7;
  GPIO_InitStruct.Mode = GPIO_MODE_AF_PP;
  GPIO_InitStruct.Pull = GPIO_NOPULL;
  GPIO_InitStruct.Speed = GPIO_SPEED_FREQ_VERY_HIGH;
  GPIO_InitStruct.Alternate = GPIO_AF9_FMC;
  HAL_GPIO_Init(GPIOC, &GPIO_InitStruct);

  /*Configure GPIO pin : LCD_PWR_ON_Pin */
  GPIO_InitStruct.Pin = LCD_PWR_ON_Pin;
  GPIO_InitStruct.Mode = GPIO_MODE_OUTPUT_PP;
  GPIO_InitStruct.Pull = GPIO_NOPULL;
  GPIO_InitStruct.Speed = GPIO_SPEED_FREQ_LOW;
  HAL_GPIO_Init(LCD_PWR_ON_GPIO_Port, &GPIO_InitStruct);

  /*Configure GPIO pins : LCD_CTP_INT_Pin UCPD_FLT_Pin */
  GPIO_InitStruct.Pin = LCD_CTP_INT_Pin|UCPD_FLT_Pin;
  GPIO_InitStruct.Mode = GPIO_MODE_IT_RISING;
  GPIO_InitStruct.Pull = GPIO_NOPULL;
  HAL_GPIO_Init(GPIOG, &GPIO_InitStruct);

  /*Configure GPIO pin : PF10 */
  GPIO_InitStruct.Pin = GPIO_PIN_10;
  GPIO_InitStruct.Mode = GPIO_MODE_AF_PP;
  GPIO_InitStruct.Pull = GPIO_NOPULL;
  GPIO_InitStruct.Speed = GPIO_SPEED_FREQ_VERY_HIGH;
  GPIO_InitStruct.Alternate = GPIO_AF9_OCTOSPI1;
  HAL_GPIO_Init(GPIOF, &GPIO_InitStruct);

  /*Configure GPIO pin : PG6 */
  GPIO_InitStruct.Pin = GPIO_PIN_6;
  GPIO_InitStruct.Mode = GPIO_MODE_AF_PP;
  GPIO_InitStruct.Pull = GPIO_NOPULL;
  GPIO_InitStruct.Speed = GPIO_SPEED_FREQ_VERY_HIGH;
  GPIO_InitStruct.Alternate = GPIO_AF10_OCTOSPI1;
  HAL_GPIO_Init(GPIOG, &GPIO_InitStruct);

  /*Configure GPIO pin : PC2 */
  GPIO_InitStruct.Pin = GPIO_PIN_2;
  GPIO_InitStruct.Mode = GPIO_MODE_AF_PP;
  GPIO_InitStruct.Pull = GPIO_NOPULL;
  GPIO_InitStruct.Speed = GPIO_SPEED_FREQ_VERY_HIGH;
  GPIO_InitStruct.Alternate = GPIO_AF9_OCTOSPI1;
  HAL_GPIO_Init(GPIOC, &GPIO_InitStruct);

  /*Configure GPIO pins : PD12 PD13 */
  GPIO_InitStruct.Pin = GPIO_PIN_12|GPIO_PIN_13;
  GPIO_InitStruct.Mode = GPIO_MODE_AF_PP;
  GPIO_InitStruct.Pull = GPIO_NOPULL;
  GPIO_InitStruct.Speed = GPIO_SPEED_FREQ_VERY_HIGH;
  GPIO_InitStruct.Alternate = GPIO_AF9_OCTOSPI1;
  HAL_GPIO_Init(GPIOD, &GPIO_InitStruct);

  /*Configure GPIO pin : PC0 */
  GPIO_InitStruct.Pin = GPIO_PIN_0;
  GPIO_InitStruct.Mode = GPIO_MODE_AF_PP;
  GPIO_InitStruct.Pull = GPIO_NOPULL;
  GPIO_InitStruct.Speed = GPIO_SPEED_FREQ_VERY_HIGH;
  GPIO_InitStruct.Alternate = GPIO_AF10_OCTOSPI1;
  HAL_GPIO_Init(GPIOC, &GPIO_InitStruct);

  /*Configure GPIO pins : RMII_MDC_Pin RMII_RXD0_Pin RMII_RXD1_Pin */
  GPIO_InitStruct.Pin = RMII_MDC_Pin|RMII_RXD0_Pin|RMII_RXD1_Pin;
  GPIO_InitStruct.Mode = GPIO_MODE_AF_PP;
  GPIO_InitStruct.Pull = GPIO_NOPULL;
  GPIO_InitStruct.Speed = GPIO_SPEED_FREQ_HIGH;
  GPIO_InitStruct.Alternate = GPIO_AF11_ETH;
  HAL_GPIO_Init(GPIOC, &GPIO_InitStruct);

  /*Configure GPIO pins : RMII_REF_CLK_Pin RMII_MDIO_Pin RMII_CRS_DV_Pin */
  GPIO_InitStruct.Pin = RMII_REF_CLK_Pin|RMII_MDIO_Pin|RMII_CRS_DV_Pin;
  GPIO_InitStruct.Mode = GPIO_MODE_AF_PP;
  GPIO_InitStruct.Pull = GPIO_NOPULL;
  GPIO_InitStruct.Speed = GPIO_SPEED_FREQ_HIGH;
  GPIO_InitStruct.Alternate = GPIO_AF11_ETH;
  HAL_GPIO_Init(GPIOA, &GPIO_InitStruct);

  /*Configure GPIO pin : STMOD_18_Pin */
  GPIO_InitStruct.Pin = STMOD_18_Pin;
  GPIO_InitStruct.Mode = GPIO_MODE_IT_RISING;
  GPIO_InitStruct.Pull = GPIO_NOPULL;
  HAL_GPIO_Init(STMOD_18_GPIO_Port, &GPIO_InitStruct);

  /*Configure GPIO pin : PD11 */
  GPIO_InitStruct.Pin = GPIO_PIN_11;
  GPIO_InitStruct.Mode = GPIO_MODE_AF_PP;
  GPIO_InitStruct.Pull = GPIO_NOPULL;
  GPIO_InitStruct.Speed = GPIO_SPEED_FREQ_LOW;
  GPIO_InitStruct.Alternate = GPIO_AF2_SAI1;
  HAL_GPIO_Init(GPIOD, &GPIO_InitStruct);

  /*Configure GPIO pins : ARD_A1_Pin ARD_A2_Pin ARD_A4_Pin ARD_A3_Pin */
  GPIO_InitStruct.Pin = ARD_A1_Pin|ARD_A2_Pin|ARD_A4_Pin|ARD_A3_Pin;
  GPIO_InitStruct.Mode = GPIO_MODE_ANALOG;
  GPIO_InitStruct.Pull = GPIO_NOPULL;
  HAL_GPIO_Init(GPIOA, &GPIO_InitStruct);

  /*Configure GPIO pins : ARD_D1_Pin ARD_D0_Pin */
  GPIO_InitStruct.Pin = ARD_D1_Pin|ARD_D0_Pin;
  GPIO_InitStruct.Mode = GPIO_MODE_AF_PP;
  GPIO_InitStruct.Pull = GPIO_NOPULL;
  GPIO_InitStruct.Speed = GPIO_SPEED_FREQ_LOW;
  GPIO_InitStruct.Alternate = GPIO_AF7_USART3;
  HAL_GPIO_Init(GPIOB, &GPIO_InitStruct);

  /*Configure GPIO pin : ARD_D11_Pin */
  GPIO_InitStruct.Pin = ARD_D11_Pin;
  GPIO_InitStruct.Mode = GPIO_MODE_AF_PP;
  GPIO_InitStruct.Pull = GPIO_NOPULL;
  GPIO_InitStruct.Speed = GPIO_SPEED_FREQ_LOW;
  GPIO_InitStruct.Alternate = GPIO_AF5_SPI2;
  HAL_GPIO_Init(ARD_D11_GPIO_Port, &GPIO_InitStruct);

  /*Configure GPIO pin : PDM_SAI1_SD3_Pin */
  GPIO_InitStruct.Pin = PDM_SAI1_SD3_Pin;
  GPIO_InitStruct.Mode = GPIO_MODE_AF_PP;
  GPIO_InitStruct.Pull = GPIO_NOPULL;
  GPIO_InitStruct.Speed = GPIO_SPEED_FREQ_LOW;
  GPIO_InitStruct.Alternate = GPIO_AF2_SAI1;
  HAL_GPIO_Init(PDM_SAI1_SD3_GPIO_Port, &GPIO_InitStruct);

  /*Configure GPIO pin : ARD_D10_Pin */
  GPIO_InitStruct.Pin = ARD_D10_Pin;
  GPIO_InitStruct.Mode = GPIO_MODE_AF_PP;
  GPIO_InitStruct.Pull = GPIO_NOPULL;
  GPIO_InitStruct.Speed = GPIO_SPEED_FREQ_LOW;
  GPIO_InitStruct.Alternate = GPIO_AF5_SPI2;
  HAL_GPIO_Init(ARD_D10_GPIO_Port, &GPIO_InitStruct);

  /*Configure GPIO pin : PB1 */
  GPIO_InitStruct.Pin = GPIO_PIN_1;
  GPIO_InitStruct.Mode = GPIO_MODE_AF_PP;
  GPIO_InitStruct.Pull = GPIO_NOPULL;
  GPIO_InitStruct.Speed = GPIO_SPEED_FREQ_VERY_HIGH;
  GPIO_InitStruct.Alternate = GPIO_AF6_OCTOSPI1;
  HAL_GPIO_Init(GPIOB, &GPIO_InitStruct);

  /*Configure GPIO pins : ARD_A5_Pin IBUS_SENSE_Pin STMOD_13_Pin VBUS_SENSE_Pin */
  GPIO_InitStruct.Pin = ARD_A5_Pin|IBUS_SENSE_Pin|STMOD_13_Pin|VBUS_SENSE_Pin;
  GPIO_InitStruct.Mode = GPIO_MODE_ANALOG;
  GPIO_InitStruct.Pull = GPIO_NOPULL;
  HAL_GPIO_Init(GPIOF, &GPIO_InitStruct);

  /*Configure GPIO pins : LCD_D6_Pin LCD_D11_Pin LCD_D12_Pin LCD_D5_Pin
                           LCD_D8_Pin LCD_D10_Pin PE7 LCD_D7_Pin
                           LCD_D9_Pin */
  GPIO_InitStruct.Pin = LCD_D6_Pin|LCD_D11_Pin|LCD_D12_Pin|LCD_D5_Pin
                          |LCD_D8_Pin|LCD_D10_Pin|GPIO_PIN_7|LCD_D7_Pin
                          |LCD_D9_Pin;
  GPIO_InitStruct.Mode = GPIO_MODE_AF_PP;
  GPIO_InitStruct.Pull = GPIO_NOPULL;
  GPIO_InitStruct.Speed = GPIO_SPEED_FREQ_VERY_HIGH;
  GPIO_InitStruct.Alternate = GPIO_AF12_FMC;
  HAL_GPIO_Init(GPIOE, &GPIO_InitStruct);

  /*Configure GPIO pins : STMOD_9_MISOs_Pin STMOD_12_RST_Pin */
  GPIO_InitStruct.Pin = STMOD_9_MISOs_Pin|STMOD_12_RST_Pin;
  GPIO_InitStruct.Mode = GPIO_MODE_AF_PP;
  GPIO_InitStruct.Pull = GPIO_NOPULL;
  GPIO_InitStruct.Speed = GPIO_SPEED_FREQ_LOW;
  GPIO_InitStruct.Alternate = GPIO_AF5_SPI5;
  HAL_GPIO_Init(GPIOH, &GPIO_InitStruct);

  /*Configure GPIO pins : ARD_D6_Pin ARD_D5_Pin */
  GPIO_InitStruct.Pin = ARD_D6_Pin|ARD_D5_Pin;
  GPIO_InitStruct.Mode = GPIO_MODE_AF_PP;
  GPIO_InitStruct.Pull = GPIO_NOPULL;
  GPIO_InitStruct.Speed = GPIO_SPEED_FREQ_LOW;
  GPIO_InitStruct.Alternate = GPIO_AF2_TIM5;
  HAL_GPIO_Init(GPIOH, &GPIO_InitStruct);

  /*Configure GPIO pins : UCPD_CC2_Pin ARD_A0_Pin UCPD_CC1_Pin */
  GPIO_InitStruct.Pin = UCPD_CC2_Pin|ARD_A0_Pin|UCPD_CC1_Pin;
  GPIO_InitStruct.Mode = GPIO_MODE_ANALOG;
  GPIO_InitStruct.Pull = GPIO_NOPULL;
  HAL_GPIO_Init(GPIOB, &GPIO_InitStruct);

  /*Configure GPIO pins : PH3 PH2 */
  GPIO_InitStruct.Pin = GPIO_PIN_3|GPIO_PIN_2;
  GPIO_InitStruct.Mode = GPIO_MODE_AF_PP;
  GPIO_InitStruct.Pull = GPIO_NOPULL;
  GPIO_InitStruct.Speed = GPIO_SPEED_FREQ_VERY_HIGH;
  GPIO_InitStruct.Alternate = GPIO_AF9_OCTOSPI1;
  HAL_GPIO_Init(GPIOH, &GPIO_InitStruct);

  /*Configure GPIO pin : PB2 */
  GPIO_InitStruct.Pin = GPIO_PIN_2;
  GPIO_InitStruct.Mode = GPIO_MODE_AF_PP;
  GPIO_InitStruct.Pull = GPIO_NOPULL;
  GPIO_InitStruct.Speed = GPIO_SPEED_FREQ_VERY_HIGH;
  GPIO_InitStruct.Alternate = GPIO_AF10_OCTOSPI1;
  HAL_GPIO_Init(GPIOB, &GPIO_InitStruct);

}

void Error_Handler(void)
{
  __disable_irq();
  while (1)
  {
  }
}
